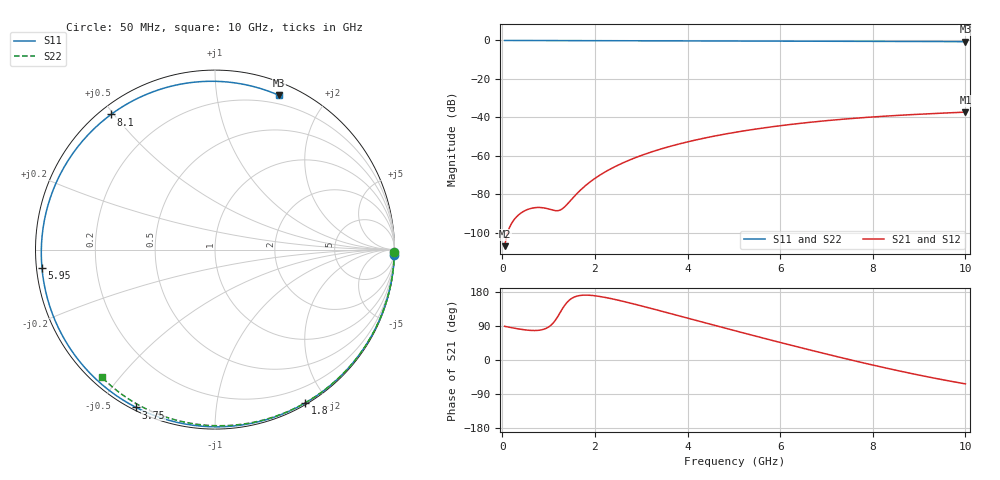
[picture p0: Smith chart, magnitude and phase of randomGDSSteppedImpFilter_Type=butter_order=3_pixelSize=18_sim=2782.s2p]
! freq	dB(S11)	phase(S11)	dB(S12)	phase(S12)
!  dB(S21)	phase(S21)	dB(S22)	phase(S22)
!S-par simulation data
#  GHz  S  DB  R 50
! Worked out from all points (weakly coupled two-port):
!   200 points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, 50 MHz to 10 GHz, reference 50 ohm
!   highest |S21| = -37.29 dB at 10 GHz (marker M1); lowest = -107.0 dB at 50 MHz (marker M2)
!   lowest |S11| = -0.6 dB at 10 GHz (marker M3), VSWR 27.71, Z = 5.81 + j74.4 ohm
!   |S11| at or under -10 dB: nowhere
!   |S22| runs from -0.4 to 0.0 dB; largest |S21 - S12| = 0
!   S11 on the Smith chart (normalised r, x): 50 MHz: 0, -66; 1.8 GHz: 0.02, -1.74; 3.75 GHz: 0.01, -0.62; 5.95 GHz: 0.02, -0.05; 8.1 GHz: 0.03, +0.49; 10 GHz: 0.12, +1.49
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0.05  -0.00 -1.7  -107.05 88.9  -107.05 88.9  -0.00 -0.8
0.4  -0.02 -13.6  -89.85 81.0  -89.85 81.0  -0.01 -6.1
0.8  -0.04 -27.1  -86.92 78.6  -86.92 78.6  -0.02 -12.1
1.6  -0.07 -53.3  -79.98 168.2  -79.98 168.2  -0.03 -24.0
1.75  -0.07 -58.1  -76.50 171.1  -76.50 171.1  -0.03 -26.3
1.8  -0.07 -59.7  -75.46 171.3  -75.46 171.3  -0.03 -27.0
2.1  -0.09 -69.0  -70.19 167.8  -70.19 167.8  -0.04 -31.4
2.45  -0.10 -79.6  -65.47 159.3  -65.47 159.3  -0.05 -36.5
2.9  -0.11 -92.8  -60.76 146.0  -60.76 146.0  -0.06 -42.9
3.4  -0.13 -106.9  -56.66 130.1  -56.66 130.1  -0.07 -50.0
3.75  -0.15 -116.5  -54.29 118.7  -54.29 118.7  -0.07 -54.9
4.4  -0.18 -133.9  -50.63 97.5  -50.63 97.5  -0.09 -63.7
5.05  -0.21 -150.8  -47.71 76.4  -47.71 76.4  -0.11 -72.3
5.95  -0.27 -173.9  -44.53 47.9  -44.53 47.9  -0.14 -83.9
6.7  -0.32 166.5  -42.45 24.7  -42.45 24.7  -0.18 -93.2
7.4  -0.38 147.5  -40.89 3.8  -40.89 3.8  -0.22 -101.7
8.1  -0.45 127.6  -39.64 -16.1  -39.64 -16.1  -0.27 -110.0
8.35  -0.47 120.2  -39.26 -23.0  -39.26 -23.0  -0.29 -112.9
8.8  -0.51 106.5  -38.65 -34.8  -38.65 -34.8  -0.33 -118.1
9.2  -0.55 93.8  -38.16 -44.8  -38.16 -44.8  -0.36 -122.6
9.6  -0.59 80.9  -37.72 -54.2  -37.72 -54.2  -0.40 -127.2
10  -0.63 67.6  -37.29 -63.0  -37.29 -63.0  -0.45 -131.7
